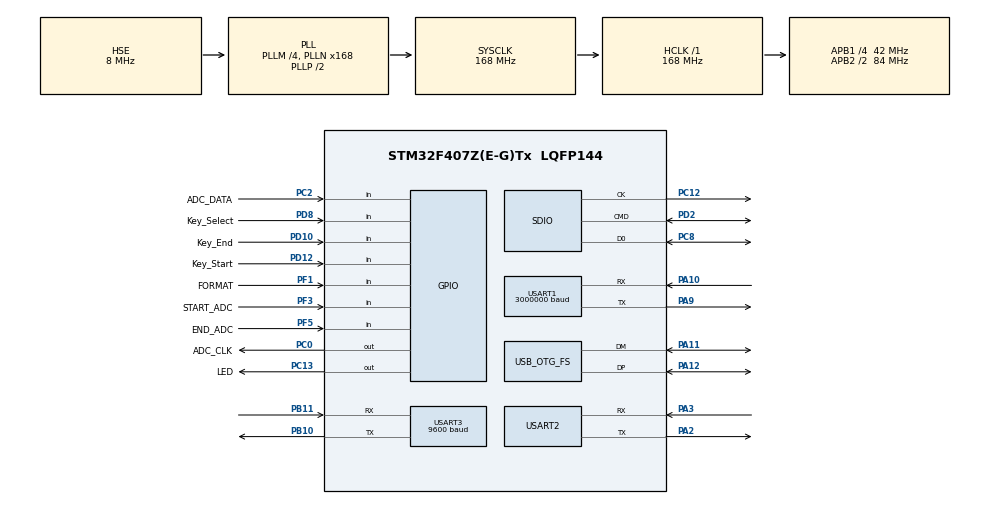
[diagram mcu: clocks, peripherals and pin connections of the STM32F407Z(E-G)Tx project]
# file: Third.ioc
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Dma.Request0=USART1_RX
Dma.Request1=SDIO_RX
Dma.Request2=SDIO_TX
Dma.Request3=USART1_TX
Dma.Request4=USART2_RX
Dma.SDIO_RX.1.Direction=DMA_PERIPH_TO_MEMORY
Dma.SDIO_RX.1.FIFOMode=DMA_FIFOMODE_ENABLE
Dma.SDIO_RX.1.FIFOThreshold=DMA_FIFO_THRESHOLD_FULL
Dma.SDIO_RX.1.Instance=DMA2_Stream3
Dma.SDIO_RX.1.MemBurst=DMA_MBURST_INC4
Dma.SDIO_RX.1.MemDataAlignment=DMA_MDATAALIGN_WORD
Dma.SDIO_RX.1.MemInc=DMA_MINC_ENABLE
Dma.SDIO_RX.1.Mode=DMA_PFCTRL
Dma.SDIO_RX.1.PeriphBurst=DMA_PBURST_INC4
Dma.SDIO_RX.1.PeriphDataAlignment=DMA_PDATAALIGN_WORD
Dma.SDIO_RX.1.PeriphInc=DMA_PINC_DISABLE
Dma.SDIO_RX.1.Priority=DMA_PRIORITY_LOW
Dma.SDIO_TX.2.Direction=DMA_MEMORY_TO_PERIPH
Dma.SDIO_TX.2.FIFOMode=DMA_FIFOMODE_ENABLE
Dma.SDIO_TX.2.FIFOThreshold=DMA_FIFO_THRESHOLD_FULL
Dma.SDIO_TX.2.Instance=DMA2_Stream6
Dma.SDIO_TX.2.MemBurst=DMA_MBURST_INC4
Dma.SDIO_TX.2.MemDataAlignment=DMA_MDATAALIGN_WORD
Dma.SDIO_TX.2.MemInc=DMA_MINC_ENABLE
Dma.SDIO_TX.2.Mode=DMA_PFCTRL
Dma.SDIO_TX.2.PeriphBurst=DMA_PBURST_INC4
Dma.SDIO_TX.2.PeriphDataAlignment=DMA_PDATAALIGN_WORD
Dma.SDIO_TX.2.PeriphInc=DMA_PINC_DISABLE
Dma.SDIO_TX.2.Priority=DMA_PRIORITY_LOW
Dma.USART1_RX.0.Direction=DMA_PERIPH_TO_MEMORY
Dma.USART1_RX.0.FIFOMode=DMA_FIFOMODE_DISABLE
Dma.USART1_RX.0.Instance=DMA2_Stream2
Dma.USART1_RX.0.MemDataAlignment=DMA_MDATAALIGN_BYTE
Dma.USART1_RX.0.MemInc=DMA_MINC_ENABLE
Dma.USART1_RX.0.Mode=DMA_NORMAL
Dma.USART1_RX.0.PeriphDataAlignment=DMA_PDATAALIGN_BYTE
Dma.USART1_RX.0.PeriphInc=DMA_PINC_DISABLE
Dma.USART1_RX.0.Priority=DMA_PRIORITY_LOW
Dma.USART1_TX.3.Direction=DMA_MEMORY_TO_PERIPH
Dma.USART1_TX.3.FIFOMode=DMA_FIFOMODE_DISABLE
Dma.USART1_TX.3.Instance=DMA2_Stream7
Dma.USART1_TX.3.MemDataAlignment=DMA_MDATAALIGN_BYTE
Dma.USART1_TX.3.MemInc=DMA_MINC_ENABLE
Dma.USART1_TX.3.Mode=DMA_NORMAL
Dma.USART1_TX.3.PeriphDataAlignment=DMA_PDATAALIGN_BYTE
Dma.USART1_TX.3.PeriphInc=DMA_PINC_DISABLE
Dma.USART1_TX.3.Priority=DMA_PRIORITY_LOW
Dma.USART2_RX.4.Direction=DMA_PERIPH_TO_MEMORY
Dma.USART2_RX.4.FIFOMode=DMA_FIFOMODE_DISABLE
Dma.USART2_RX.4.Instance=DMA1_Stream5
Dma.USART2_RX.4.MemDataAlignment=DMA_MDATAALIGN_BYTE
Dma.USART2_RX.4.MemInc=DMA_MINC_ENABLE
Dma.USART2_RX.4.Mode=DMA_NORMAL
Dma.USART2_RX.4.PeriphDataAlignment=DMA_PDATAALIGN_BYTE
Dma.USART2_RX.4.PeriphInc=DMA_PINC_DISABLE
Dma.USART2_RX.4.Priority=DMA_PRIORITY_LOW
Mcu.Family=STM32F4
Mcu.Name=STM32F407Z(E-G)Tx
Mcu.Package=LQFP144
NVIC.DMA1_Stream5_IRQn=true\:0\:0\:false\:false\:true\:false\:true\:true
NVIC.DMA2_Stream2_IRQn=true\:0\:0\:false\:false\:true\:false\:true\:true
NVIC.DMA2_Stream3_IRQn=true\:0\:0\:false\:false\:true\:false\:true\:true
NVIC.DMA2_Stream6_IRQn=true\:0\:0\:false\:false\:true\:false\:true\:true
NVIC.DMA2_Stream7_IRQn=true\:0\:0\:false\:false\:true\:false\:true\:true
NVIC.OTG_FS_IRQn=true\:0\:0\:false\:false\:true\:true\:true\:true
NVIC.PriorityGroup=NVIC_PRIORITYGROUP_4
NVIC.SDIO_IRQn=true\:1\:0\:true\:false\:true\:true\:true\:true
NVIC.TIM1_UP_TIM10_IRQn=true\:0\:0\:true\:false\:true\:true\:true\:true
NVIC.USART1_IRQn=true\:1\:0\:true\:false\:true\:true\:true\:true
NVIC.USART2_IRQn=true\:1\:0\:true\:false\:true\:true\:true\:true
PA10.Mode=Asynchronous
PA10.Signal=USART1_RX
PA11.Mode=Device_Only
PA11.Signal=USB_OTG_FS_DM
PA12.Mode=Device_Only
PA12.Signal=USB_OTG_FS_DP
PA2.GPIO_PuPd=GPIO_PULLUP
PA2.Mode=Asynchronous
PA2.Signal=USART2_TX
PA3.GPIO_PuPd=GPIO_PULLUP
PA3.Mode=Asynchronous
PA3.Signal=USART2_RX
PA9.Mode=Asynchronous
PA9.Signal=USART1_TX
PB10.GPIO_ModeDefaultPP=GPIO_MODE_AF_OD
PB10.Mode=Asynchronous
PB10.Signal=USART3_TX
PB11.Mode=Asynchronous
PB11.Signal=USART3_RX
PC0.GPIO_Label=ADC_CLK
PC0.GPIO_PuPd=GPIO_NOPULL
PC0.Signal=GPIO_Output
PC12.Mode=SD_1_bit
PC12.Signal=SDIO_CK
PC13-ANTI_TAMP.GPIO_Label=LED
PC13-ANTI_TAMP.Signal=GPIO_Output
PC14-OSC32_IN.Mode=LSE-External-Oscillator
PC14-OSC32_IN.Signal=RCC_OSC32_IN
PC15-OSC32_OUT.Mode=LSE-External-Oscillator
PC15-OSC32_OUT.Signal=RCC_OSC32_OUT
PC2.GPIO_Label=ADC_DATA
PC2.Signal=GPIO_Input
PC8.Mode=SD_1_bit
PC8.Signal=SDIO_D0
PD10.GPIO_Label=Key_End
PD10.GPIO_PuPd=GPIO_PULLUP
PD10.Signal=GPIO_Input
PD12.GPIO_Label=Key_Start
PD12.GPIO_PuPd=GPIO_PULLUP
PD12.Signal=GPIO_Input
PD2.Mode=SD_1_bit
PD2.Signal=SDIO_CMD
PD8.GPIO_Label=Key_Select
PD8.GPIO_PuPd=GPIO_PULLUP
PD8.Signal=GPIO_Input
PF1.GPIO_Label=FORMAT
PF1.GPIO_PuPd=GPIO_PULLUP
PF1.Signal=GPIO_Input
PF3.GPIO_Label=START_ADC
PF3.GPIO_PuPd=GPIO_PULLUP
PF3.Signal=GPIO_Input
PF5.GPIO_Label=END_ADC
PF5.GPIO_PuPd=GPIO_PULLUP
PF5.Signal=GPIO_Input
PH0-OSC_IN.Mode=HSE-External-Oscillator
PH0-OSC_IN.Signal=RCC_OSC_IN
PH1-OSC_OUT.Mode=HSE-External-Oscillator
PH1-OSC_OUT.Signal=RCC_OSC_OUT
ProjectManager.HeapSize=0x200
ProjectManager.StackSize=0x400
ProjectManager.TargetToolchain=MDK-ARM V5.27
RCC.48MHZClocksFreq_Value=48000000
RCC.AHBFreq_Value=168000000
RCC.APB1CLKDivider=RCC_HCLK_DIV4
RCC.APB1Freq_Value=42000000
RCC.APB1TimFreq_Value=84000000
RCC.APB2CLKDivider=RCC_HCLK_DIV2
RCC.APB2Freq_Value=84000000
RCC.APB2TimFreq_Value=168000000
RCC.CortexFreq_Value=168000000
RCC.HCLKFreq_Value=168000000
RCC.HSE_VALUE=8000000
RCC.HSI_VALUE=16000000
RCC.PLLM=4
RCC.PLLN=168
RCC.PLLQ=7
RCC.RCC_RTC_Clock_Source=RCC_RTCCLKSOURCE_LSE
RCC.RCC_RTC_Clock_SourceVirtual=RCC_RTCCLKSOURCE_LSE
RCC.SYSCLKFreq_VALUE=168000000
RCC.SYSCLKSource=RCC_SYSCLKSOURCE_PLLCLK
RCC.VCOOutputFreq_Value=336000000
RTC.Hours=1
RTC.Minutes=10
RTC.Seconds=6
RTC.SynchPrediv=255
RTC.Year=10
SDIO.ClockDiv=2
TIM1.AutoReloadPreload=TIM_AUTORELOAD_PRELOAD_ENABLE
TIM1.Period=1000
TIM1.Prescaler=84
USART1.BaudRate=3000000
USART1.VirtualMode=VM_ASYNC
USART2.VirtualMode=VM_ASYNC
USART3.BaudRate=9600
USART3.VirtualMode=VM_ASYNC
USB_DEVICE.CLASS_NAME_FS=CDC
USB_DEVICE.VirtualMode-CDC_FS=Cdc
USB_DEVICE.VirtualModeFS=Cdc_FS
USB_OTG_FS.VirtualMode=Device_Only
VP_RTC_VS_RTC_Activate.Mode=RTC_Enabled
VP_RTC_VS_RTC_Calendar.Mode=RTC_Calendar
VP_TIM1_VS_ClockSourceINT.Mode=Internal
VP_USB_DEVICE_VS_USB_DEVICE_CDC_FS.Mode=CDC_FS
board=custom

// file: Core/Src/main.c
/* USER CODE BEGIN Header */
/**
  ******************************************************************************
  * @file           : main.c
  * @brief          : Main program body
  ******************************************************************************
  * @attention
  *
  * Copyright (c) 2025 STMicroelectronics.
  * All rights reserved.
  *
  * This software is licensed under terms that can be found in the LICENSE file
  * in the root directory of this software component.
  * If no LICENSE file comes with this software, it is provided AS-IS.
  *
  ******************************************************************************
  */
/* USER CODE END Header */
#include "main.h"
#include "usb_device.h"

/* USER CODE BEGIN Includes */
#include "string.h"
#include <stdio.h>
#include "SdManager.h"
#include "ProcessData.h"
#include "Public.h"
#include "Config.h"
#include "Computer.h"
#include "MYRTC.h"
#include "SEND.h"
#include "ScaleModelRunner.h"
/* USER CODE END Includes */

RTC_HandleTypeDef hrtc;

SD_HandleTypeDef hsd;
DMA_HandleTypeDef hdma_sdio_rx;
DMA_HandleTypeDef hdma_sdio_tx;

TIM_HandleTypeDef htim1;

UART_HandleTypeDef huart1;
UART_HandleTypeDef huart2;
UART_HandleTypeDef huart3;
DMA_HandleTypeDef hdma_usart1_rx;
DMA_HandleTypeDef hdma_usart1_tx;
DMA_HandleTypeDef hdma_usart2_rx;

void SystemClock_Config(void);
static void MX_GPIO_Init(void);
static void MX_DMA_Init(void);
static void MX_USART1_UART_Init(void);
static void MX_SDIO_SD_Init(void);
static void MX_USART2_UART_Init(void);
static void MX_USART3_UART_Init(void);
static void MX_RTC_Init(void);
static void MX_TIM1_Init(void);

/* USER CODE BEGIN 0 */

uint8_t Data[]="mytest12345678\r\n";

#ifdef SCALE_MODEL_DEBUG_FREQ
// 性能测量（DWT 周期计数器）
static uint8_t g_dwt_ready = 0U;
static uint64_t g_step_cyc_sum = 0ULL;
static uint32_t g_step_cyc_max = 0U;
static uint32_t g_step_cyc_cnt = 0U;
#endif

int fputc(int ch, FILE *f)
{
    // 主要输出到UART1调试串口（始终可用）
    //注意关掉了
    //HAL_UART_Transmit(&huart1, (uint8_t *)&ch, 1, 0xFFFF);

    #ifdef ENABLE_USB
    // 检查USB是否已连接并初始化成
    extern USBD_HandleTypeDef hUsbDeviceFS;
    if (hUsbDeviceFS.dev_state == USBD_STATE_CONFIGURED) {
        // 只有在USB连接并配置成功时才发送到USB
        extern uint8_t USB_Transmit_Char(uint8_t ch);
        USB_Transmit_Char((uint8_t)ch);
    }
    #endif

    return ch;
}

#define RX_BUF_SIZE 1024
uint8_t Uart1_RxBuffer[RX_BUF_SIZE];  // DMA接收缓冲
volatile uint16_t Uart1_rxLength = 0; // 接收数据长度
volatile uint8_t Uart1_rxFlag = 0;    // 接收完成标志

//#define RX_BUF_SIZE 1024
uint8_t Uart2_RxBuffer[RX_BUF_SIZE];  // DMA接收缓冲
volatile uint16_t Uart2_rxLength = 0; // 接收数据长度
volatile uint8_t Uart2_rxFlag = 0;    // 接收完成标志

u16 LedCount=0;

void Echo_Uart()
{
	//HAL_UART_Transmit_DMA(&huart1, Uart1_RxBuffer, Uart1_rxLength);

	//printf("%d\r\n",Uart1_rxLength);

	//Uart1_RxBuffer[Uart1_rxLength]=0;
	///printf("%s\r\n",Uart1_RxBuffer);

	for( int i=0;i<=Uart1_rxLength-1;i++)
		printf("%c",Uart1_RxBuffer[i]);

}

extern void On_USART1_IRQHandler(void) {
    if (__HAL_UART_GET_FLAG(&huart1, UART_FLAG_IDLE)) {
        __HAL_UART_CLEAR_IDLEFLAG(&huart1); // 清除空闲标志
        HAL_UART_DMAStop(&huart1);          // 停止DMA

        Uart1_rxLength = RX_BUF_SIZE - __HAL_DMA_GET_COUNTER(huart1.hdmarx); // 计算接收长度

		///HAL_UART_Transmit_DMA(&huart1, Uart1_RxBuffer, Uart1_rxLength);

		//Echo_Uart();

		//printf("get data\r\n");

		Uart1_rxFlag = 1;                        // 标记接收完成
       // Start_DMA_Receive();               // 重启接收

	  HAL_UART_Receive_DMA(&huart1, Uart1_RxBuffer, RX_BUF_SIZE);
    }
}

/**
  * @brief  USART2中断处理函数
  * @note   处理USART2串口的空闲中断，当检测到串口接收空闲时，计算接收到的数据长度，
  *         调用OnGetCommUartData处理接收到的数据，然后重新启动DMA接收
  * @param  None
  * @retval None
  */
 int nine_count=0;
extern void On_USART2_IRQHandler(void) {
    if (__HAL_UART_GET_FLAG(&huart2, UART_FLAG_IDLE)) {
        __HAL_UART_CLEAR_IDLEFLAG(&huart2); // 清除空闲标志
        HAL_UART_DMAStop(&huart2);          // 停止DMA
        Uart2_rxLength = RX_BUF_SIZE - __HAL_DMA_GET_COUNTER(huart2.hdmarx); // 计算接收长度

		OnGetCommUartData(Uart2_RxBuffer,Uart2_rxLength);
		TIM_GET_TASK_MS(MYNINE);
    nine_count++;
	  HAL_UART_Receive_DMA(&huart2, Uart2_RxBuffer, RX_BUF_SIZE);
    }
}

void CheckUartGetDataFlag(void)
{

if(Uart1_rxFlag==1)
{
	OnGetDebugUartData(Uart1_RxBuffer,Uart1_rxLength);
	Uart1_rxFlag=0;
}

}

int count=0;
extern int TIM1_COUNT;
// extern int decodeIns_count;
/* USER CODE END 0 */

int main(void)
{

  /* MCU Configuration--------------------------------------------------------*/

  /* Reset of all peripherals, Initializes the Flash interface and the Systick. */
  HAL_Init();

  /* Configure the system clock */
  SystemClock_Config();

  /* Initialize all configured peripherals */
  MX_GPIO_Init();
  MX_DMA_Init();
  MX_USART1_UART_Init();
  MX_SDIO_SD_Init();
  MX_USART2_UART_Init();
  MX_USB_DEVICE_Init();
  MX_USART3_UART_Init();
  MX_RTC_Init();
  MX_TIM1_Init();
  /* USER CODE BEGIN 2 */

  HAL_TIM_Base_Start_IT(&htim1);

  // ========== 性能测量：启用 DWT 周期计数器 ==========
  // 用于输出每次 ScaleModelRunner_Step() 的 CPU 周期数（不依赖定时器精度）。
  #ifdef SCALE_MODEL_DEBUG_FREQ
  if (!g_dwt_ready) {
    CoreDebug->DEMCR |= CoreDebug_DEMCR_TRCENA_Msk;
    DWT->CYCCNT = 0U;
    DWT->CTRL |= DWT_CTRL_CYCCNTENA_Msk;
    g_dwt_ready = 1U;
  }
  #endif

  HAL_UART_Receive_DMA(&huart2, Uart2_RxBuffer, RX_BUF_SIZE);
  __HAL_UART_ENABLE_IT(&huart2, UART_IT_IDLE); // 使能空闲中断//

  UartDebugHandle=&huart1;

  UartDebugHandle2=&huart1;

  // ========== 初始化64字节数据包管理系统 ==========
  //InitSectorBuffer();
  printf("Data packet management system initialized\r\n");

  // ========== 初始化砝码选择 ==========

  #ifdef ENABLE_USB
  // 检查USB连接状态
  extern USBD_HandleTypeDef hUsbDeviceFS;
  if (hUsbDeviceFS.dev_state == USBD_STATE_CONFIGURED) {
      printf("USB connected and configured\r\n");
  } else {
      printf("USB not connected, using UART1 only\r\n");
  }
  #endif

  //HAL_Delay(100);

  //Display_SendBlackScreen();

  HAL_Delay(1000);

  Display_SendToDigitTube(0);

  InsFifo.InsFifo_Pointer=0;

  AdcUserInsFifo.InsFifo_Pointer=0;

  WeightFilterBufferPointer=0;

  FilterSkipCounter=0;

  printf("Scal system start\r\n");

  /* USER CODE END 2 */

  /* Infinite loop */
  /* USER CODE BEGIN WHILE */
  // while(1)
  // {
  //     HAL_GPIO_WritePin(LED_GPIO_Port,LED_Pin,GPIO_PIN_SET);
  //     HAL_Delay(1000);
  //     HAL_GPIO_WritePin(LED_GPIO_Port,LED_Pin,GPIO_PIN_RESET);
  //     HAL_Delay(1000);
  // }

  while (1)
  {
    // ========== 系统时基控制 ==========
   // Delay_us(500);                    // 1ms延时，控制主循环频率1000Hz

    // ========== 数码管闪烁控制 ==========
  //  extern void Display_UpdateBlinkStatus(void);
  //  Display_UpdateBlinkStatus();     // 更新数码管闪烁状态，ADC运行时2Hz闪烁

    // ========== 按钮测试程序 ==========
    CheckButtonStatus();             // 测试三个按钮状并处理相应功能

    // ========== USB虚拟串口数据处理 ==========
    CheckUartGetDataFlag();          // 检查并处理调试USB串口(UART1)的命令数

    // ========== RTC测试函数 =============

    // ==========四元素测试函数===========
      //TestQuaternionConversion();

    #ifdef ENABLE_USB
    // 只有在USB连接并配置成功时才处理USB数据
    extern USBD_HandleTypeDef hUsbDeviceFS;
    if (hUsbDeviceFS.dev_state == USBD_STATE_CONFIGURED) {
        // 检查并处理USB虚拟串口的命令数
        extern void CheckUsbGetDataFlag(void);
        CheckUsbGetDataFlag();           // 检查并处理USB虚拟串口的命令数

        // 处理USB发送缓冲区
        extern void USB_Process_TxBuffer(void);
        USB_Process_TxBuffer();          // 处理USB发送缓冲区，确保数据完整发送
    }
    #endif
                                    // - 处理来自调试串口的控制命令
                                    // - UART2的IMU数据在中断中直接处理
      // 重要：不要在这里直接 TIM1_COUNT=0。
      // 因为在执行一次推理/显示期间（例如 15ms），TIM1 中断仍会累加 TIM1_COUNT。
      // 如果粗暴清零，会等于“推理15ms + 再等20ms”，频率就会掉到 ~28Hz。
      // 正确做法：每处理一次 20ms tick，就减去 20，保留余量（必要时可补跑追赶）。
      while (TIM1_COUNT >= 20)
      {
        TIM1_COUNT -= 20;
        TIM_COMPUTER(&tim_data);

        // ========== 深度学习模型推理（建议固定 50Hz 调用） ==========
        // 重要：原先按ADC“新数据就绪”节拍调用（HX711常见为10Hz/80Hz），会导致
        // `SCALE_MODEL_WINDOW_SIZE=100` 的时间窗口变成 10s/1.25s，从而出现“要5秒以上才稳定”。
        // 这里改为跟随 TIM1 的 20ms 节拍（约50Hz）调用：即使ADC 10Hz，也会重复使用最近一次AdcValue，
        // 等价于对“保持值”做 50Hz 采样，更贴近软件侧 `--resample_hz 50` 的训练/评测假设。
        #ifdef ENABLE_SCALE_MODEL
        extern double FOUR_element[4];
        float yFused = 0.0f;
        float yBaseline = 0.0f;
        float yModel = 0.0f;

        // 周期测量：仅统计 ScaleModelRunner_Step()（不包含后续业务滤波/显示）
        #ifdef SCALE_MODEL_DEBUG_FREQ
        uint32_t t0 = (g_dwt_ready ? DWT->CYCCNT : 0U);
        #endif
        (void)ScaleModelRunner_Step(AdcValue, Acceleration, AngularVelocity, FOUR_element,
                                    &yFused, &yBaseline, &yModel);
        #ifdef SCALE_MODEL_DEBUG_FREQ
        if (g_dwt_ready) {
          uint32_t cyc = (uint32_t)(DWT->CYCCNT - t0);
          g_step_cyc_sum += (uint64_t)cyc;
          g_step_cyc_cnt += 1U;
          if (cyc > g_step_cyc_max) g_step_cyc_max = cyc;
        }
        #endif

        // 基于模型输出更新业务侧重量（建议也按 50Hz 刷新，避免再被ADC 10Hz/80Hz节拍拖慢）
        SetWeightToAdcValue();
        FilterWeightValue();

        // 调试：打印真实推理频率（约每秒一次）
        #ifdef SCALE_MODEL_DEBUG_FREQ
        static uint32_t infer_calls = 0U;
        static uint32_t last_tick = 0U;
        infer_calls++;
        uint32_t now_tick = HAL_GetTick();
        if (last_tick == 0U) {
          last_tick = now_tick;
        }
        if ((now_tick - last_tick) >= 1000U) {
          float hz = (infer_calls * 1000.0f) / (float)(now_tick - last_tick);
          printf("INFER_HZ,%.2f\r\n", hz);
          // 方便对齐：SHOW 与数码管一致（已做零点/动态零点）；YFUSED 是模型融合原始输出
          printf("SHOW,%.3f\r\n", (float)my_send.now_real);
          printf("YFUSED,%.3f\r\n", yFused);

          // 周期/耗时统计（ScaleModelRunner_Step 这一段）
          if (g_step_cyc_cnt > 0U) {
            uint32_t avg = (uint32_t)(g_step_cyc_sum / (uint64_t)g_step_cyc_cnt);
            printf("STEP_CYC_AVG,%lu\r\n", (unsigned long)avg);
            printf("STEP_CYC_MAX,%lu\r\n", (unsigned long)g_step_cyc_max);

            uint32_t cyc_per_us = SystemCoreClock / 1000000U;
            if (cyc_per_us > 0U) {
              uint32_t avg_us = (avg + (cyc_per_us / 2U)) / cyc_per_us;
              uint32_t max_us = (g_step_cyc_max + (cyc_per_us / 2U)) / cyc_per_us;
              printf("STEP_US_AVG,%lu\r\n", (unsigned long)avg_us);
              printf("STEP_US_MAX,%lu\r\n", (unsigned long)max_us);
            }
          }
          g_step_cyc_sum = 0ULL;
          g_step_cyc_cnt = 0U;
          g_step_cyc_max = 0U;
          infer_calls = 0U;
          last_tick = now_tick;
        }
        #endif
        #endif

        SEND_TASK();

        // 注意：printf("%f") 很耗时，且会直接降低 50Hz 节拍执行频率。
        // 如需观察业务侧输出，请看数码管显示或启用 SCALE_MODEL_DEBUG_FREQ（会打印INFER_HZ）。
      }

      // if(nine_count%10==0)
      // {
      //     printf("nine count =%d",nine_count);

      // }

      // if(decodeIns_count%20==0)
      // {
      //     printf("decodeIns_count = %d",decodeIns_count);
      // }
    // ========== 称重传感器数据采集 ==========
    // 只有在ADC启用时才进行数据采集
    if(ReadAdc()!=-1)//这里延时7.4ms
    {
      __disable_irq();

      CopyInsFifoToAdcUserInsFifo();

      // 注意：启用模型时，SetWeightToAdcValue/FilterWeightValue 已在 TIM1 的 50Hz 节拍中执行，
      // 这里不要重复执行，避免业务侧再被ADC 10Hz/80Hz节拍“拖慢”。
      #ifndef ENABLE_SCALE_MODEL
      SetWeightToAdcValue();//读取到压力值
      FilterWeightValue();//进行滤波
      #endif

      //printf("fsdfdsf\r\n");

      __enable_irq();

      // 注意：模型推理已在上方 TIM1 50Hz 节拍内调用，这里不要重复调用，避免时间窗口被“加速”。

		// 	count++;
	  // if(count %10==0)
	  // {      printf("count %d",count);
	  // }
     // printf("copy data to adc user ins fifo  %d\r\n",AdcUserInsFifo.InsFifo_Pointer);

      // 计算AdcUserInsFifo的平均值到InsAvgData
      //ComputeInsAvgData();

      //GetWeightValue();

      // simgle_dispose();

      //  printf("ADC=%d,time=%d\r\n",AdcValue,tim_data.tim_common);

      // for(int i=0;i<9;i++ )
      //   printf("%f ",InsAvgData[i]);

    //   // printf("\r\n");

    //   //printf("AdcValue=%d\r\n",AdcValue);

    //   //GetWeightValue();

    // }

    #ifdef Adc_Hx711
    //int adcResult = ReadAdc();

    #endif

  //   //HAL_UART_Transmit_DMA(&huart1, Data,8+8);
    /* USER CODE END WHILE */

    /* USER CODE BEGIN 3 */
   }}
  /* USER CODE END 3 */
}

void SystemClock_Config(void)
{
  RCC_OscInitTypeDef RCC_OscInitStruct = {0};
  RCC_ClkInitTypeDef RCC_ClkInitStruct = {0};

  /** Configure the main internal regulator output voltage
  */
  __HAL_RCC_PWR_CLK_ENABLE();
  __HAL_PWR_VOLTAGESCALING_CONFIG(PWR_REGULATOR_VOLTAGE_SCALE1);

  /** Initializes the RCC Oscillators according to the specified parameters
  * in the RCC_OscInitTypeDef structure.
  */
  RCC_OscInitStruct.OscillatorType = RCC_OSCILLATORTYPE_HSE|RCC_OSCILLATORTYPE_LSE;
  RCC_OscInitStruct.HSEState = RCC_HSE_ON;
  RCC_OscInitStruct.LSEState = RCC_LSE_ON;
  RCC_OscInitStruct.PLL.PLLState = RCC_PLL_ON;
  RCC_OscInitStruct.PLL.PLLSource = RCC_PLLSOURCE_HSE;
  RCC_OscInitStruct.PLL.PLLM = 4;
  RCC_OscInitStruct.PLL.PLLN = 168;
  RCC_OscInitStruct.PLL.PLLP = RCC_PLLP_DIV2;
  RCC_OscInitStruct.PLL.PLLQ = 7;
  if (HAL_RCC_OscConfig(&RCC_OscInitStruct) != HAL_OK)
  {
    Error_Handler();
  }

  /** Initializes the CPU, AHB and APB buses clocks
  */
  RCC_ClkInitStruct.ClockType = RCC_CLOCKTYPE_HCLK|RCC_CLOCKTYPE_SYSCLK
                              |RCC_CLOCKTYPE_PCLK1|RCC_CLOCKTYPE_PCLK2;
  RCC_ClkInitStruct.SYSCLKSource = RCC_SYSCLKSOURCE_PLLCLK;
  RCC_ClkInitStruct.AHBCLKDivider = RCC_SYSCLK_DIV1;
  RCC_ClkInitStruct.APB1CLKDivider = RCC_HCLK_DIV4;
  RCC_ClkInitStruct.APB2CLKDivider = RCC_HCLK_DIV2;

  if (HAL_RCC_ClockConfig(&RCC_ClkInitStruct, FLASH_LATENCY_5) != HAL_OK)
  {
    Error_Handler();
  }
}

static void MX_RTC_Init(void)
{

  RTC_TimeTypeDef sTime = {0};
  RTC_DateTypeDef sDate = {0};

  /** Initialize RTC Only
  */
  hrtc.Instance = RTC;
  hrtc.Init.HourFormat = RTC_HOURFORMAT_24;
  hrtc.Init.AsynchPrediv = 127;
  hrtc.Init.SynchPrediv = 255;
  hrtc.Init.OutPut = RTC_OUTPUT_DISABLE;
  hrtc.Init.OutPutPolarity = RTC_OUTPUT_POLARITY_HIGH;
  hrtc.Init.OutPutType = RTC_OUTPUT_TYPE_OPENDRAIN;
  if (HAL_RTC_Init(&hrtc) != HAL_OK)
  {
    Error_Handler();
  }

  /** Initialize RTC and set the Time and Date
  */
  sTime.Hours = 0x1;
  sTime.Minutes = 0x10;
  sTime.Seconds = 0x6;
  sTime.DayLightSaving = RTC_DAYLIGHTSAVING_NONE;
  sTime.StoreOperation = RTC_STOREOPERATION_RESET;
  if (HAL_RTC_SetTime(&hrtc, &sTime, RTC_FORMAT_BCD) != HAL_OK)
  {
    Error_Handler();
  }
  sDate.WeekDay = RTC_WEEKDAY_MONDAY;
  sDate.Month = RTC_MONTH_JANUARY;
  sDate.Date = 0x1;
  sDate.Year = 0x10;

  if (HAL_RTC_SetDate(&hrtc, &sDate, RTC_FORMAT_BCD) != HAL_OK)
  {
    Error_Handler();
  }

}

static void MX_SDIO_SD_Init(void)
{

  hsd.Instance = SDIO;
  hsd.Init.ClockEdge = SDIO_CLOCK_EDGE_RISING;
  hsd.Init.ClockBypass = SDIO_CLOCK_BYPASS_DISABLE;
  hsd.Init.ClockPowerSave = SDIO_CLOCK_POWER_SAVE_DISABLE;
  hsd.Init.BusWide = SDIO_BUS_WIDE_1B;
  hsd.Init.HardwareFlowControl = SDIO_HARDWARE_FLOW_CONTROL_DISABLE;
  hsd.Init.ClockDiv = 2;
  if (HAL_SD_Init(&hsd) != HAL_OK)
  {
    Error_Handler();
  }

}

static void MX_TIM1_Init(void)
{

  TIM_ClockConfigTypeDef sClockSourceConfig = {0};
  TIM_MasterConfigTypeDef sMasterConfig = {0};

  htim1.Instance = TIM1;
  htim1.Init.Prescaler = 168;
  htim1.Init.CounterMode = TIM_COUNTERMODE_UP;
  htim1.Init.Period = 1000;
  htim1.Init.ClockDivision = TIM_CLOCKDIVISION_DIV1;
  htim1.Init.RepetitionCounter = 0;
  htim1.Init.AutoReloadPreload = TIM_AUTORELOAD_PRELOAD_ENABLE;
  if (HAL_TIM_Base_Init(&htim1) != HAL_OK)
  {
    Error_Handler();
  }
  sClockSourceConfig.ClockSource = TIM_CLOCKSOURCE_INTERNAL;
  if (HAL_TIM_ConfigClockSource(&htim1, &sClockSourceConfig) != HAL_OK)
  {
    Error_Handler();
  }
  sMasterConfig.MasterOutputTrigger = TIM_TRGO_RESET;
  sMasterConfig.MasterSlaveMode = TIM_MASTERSLAVEMODE_DISABLE;
  if (HAL_TIMEx_MasterConfigSynchronization(&htim1, &sMasterConfig) != HAL_OK)
  {
    Error_Handler();
  }

}

static void MX_USART1_UART_Init(void)
{

  huart1.Instance = USART1;
  huart1.Init.BaudRate = 3000000;
  huart1.Init.WordLength = UART_WORDLENGTH_8B;
  huart1.Init.StopBits = UART_STOPBITS_1;
  huart1.Init.Parity = UART_PARITY_NONE;
  huart1.Init.Mode = UART_MODE_TX_RX;
  huart1.Init.HwFlowCtl = UART_HWCONTROL_NONE;
  huart1.Init.OverSampling = UART_OVERSAMPLING_16;
  if (HAL_UART_Init(&huart1) != HAL_OK)
  {
    Error_Handler();
  }

}

static void MX_USART2_UART_Init(void)
{

  huart2.Instance = USART2;
  huart2.Init.BaudRate = 115200;
  huart2.Init.WordLength = UART_WORDLENGTH_8B;
  huart2.Init.StopBits = UART_STOPBITS_1;
  huart2.Init.Parity = UART_PARITY_NONE;
  huart2.Init.Mode = UART_MODE_TX_RX;
  huart2.Init.HwFlowCtl = UART_HWCONTROL_NONE;
  huart2.Init.OverSampling = UART_OVERSAMPLING_16;
  if (HAL_UART_Init(&huart2) != HAL_OK)
  {
    Error_Handler();
  }

}

static void MX_USART3_UART_Init(void)
{

  huart3.Instance = USART3;
  huart3.Init.BaudRate = 9600;
  huart3.Init.WordLength = UART_WORDLENGTH_8B;
  huart3.Init.StopBits = UART_STOPBITS_1;
  huart3.Init.Parity = UART_PARITY_NONE;
  huart3.Init.Mode = UART_MODE_TX_RX;
  huart3.Init.HwFlowCtl = UART_HWCONTROL_NONE;
  huart3.Init.OverSampling = UART_OVERSAMPLING_16;
  if (HAL_UART_Init(&huart3) != HAL_OK)
  {
    Error_Handler();
  }

}

static void MX_DMA_Init(void)
{

  /* DMA controller clock enable */
  __HAL_RCC_DMA2_CLK_ENABLE();
  __HAL_RCC_DMA1_CLK_ENABLE();

  /* DMA interrupt init */
  /* DMA1_Stream5_IRQn interrupt configuration */
  HAL_NVIC_SetPriority(DMA1_Stream5_IRQn, 0, 0);
  HAL_NVIC_EnableIRQ(DMA1_Stream5_IRQn);
  /* DMA2_Stream2_IRQn interrupt configuration */
  HAL_NVIC_SetPriority(DMA2_Stream2_IRQn, 0, 0);
  HAL_NVIC_EnableIRQ(DMA2_Stream2_IRQn);
  /* DMA2_Stream3_IRQn interrupt configuration */
  HAL_NVIC_SetPriority(DMA2_Stream3_IRQn, 0, 0);
  HAL_NVIC_EnableIRQ(DMA2_Stream3_IRQn);
  /* DMA2_Stream6_IRQn interrupt configuration */
  HAL_NVIC_SetPriority(DMA2_Stream6_IRQn, 0, 0);
  HAL_NVIC_EnableIRQ(DMA2_Stream6_IRQn);
  /* DMA2_Stream7_IRQn interrupt configuration */
  HAL_NVIC_SetPriority(DMA2_Stream7_IRQn, 0, 0);
  HAL_NVIC_EnableIRQ(DMA2_Stream7_IRQn);

}

static void MX_GPIO_Init(void)
{
  GPIO_InitTypeDef GPIO_InitStruct = {0};

  /* GPIO Ports Clock Enable */
  __HAL_RCC_GPIOC_CLK_ENABLE();
  __HAL_RCC_GPIOF_CLK_ENABLE();
  __HAL_RCC_GPIOH_CLK_ENABLE();
  __HAL_RCC_GPIOA_CLK_ENABLE();
  __HAL_RCC_GPIOB_CLK_ENABLE();
  __HAL_RCC_GPIOD_CLK_ENABLE();

  /*Configure GPIO pin Output Level */
  HAL_GPIO_WritePin(GPIOC, LED_Pin|ADC_CLK_Pin, GPIO_PIN_RESET);

  /*Configure GPIO pins : LED_Pin ADC_CLK_Pin */
  GPIO_InitStruct.Pin = LED_Pin|ADC_CLK_Pin;
  GPIO_InitStruct.Mode = GPIO_MODE_OUTPUT_PP;
  GPIO_InitStruct.Pull = GPIO_NOPULL;
  GPIO_InitStruct.Speed = GPIO_SPEED_FREQ_LOW;
  HAL_GPIO_Init(GPIOC, &GPIO_InitStruct);

  /*Configure GPIO pins : FORMAT_Pin START_ADC_Pin END_ADC_Pin */
  GPIO_InitStruct.Pin = FORMAT_Pin|START_ADC_Pin|END_ADC_Pin;
  GPIO_InitStruct.Mode = GPIO_MODE_INPUT;
  GPIO_InitStruct.Pull = GPIO_PULLUP;
  HAL_GPIO_Init(GPIOF, &GPIO_InitStruct);

  /*Configure GPIO pin : ADC_DATA_Pin */
  GPIO_InitStruct.Pin = ADC_DATA_Pin;
  GPIO_InitStruct.Mode = GPIO_MODE_INPUT;
  GPIO_InitStruct.Pull = GPIO_NOPULL;
  HAL_GPIO_Init(ADC_DATA_GPIO_Port, &GPIO_InitStruct);

  /*Configure GPIO pins : Key_Select_Pin Key_End_Pin Key_Start_Pin */
  GPIO_InitStruct.Pin = Key_Select_Pin|Key_End_Pin|Key_Start_Pin;
  GPIO_InitStruct.Mode = GPIO_MODE_INPUT;
  GPIO_InitStruct.Pull = GPIO_PULLUP;
  HAL_GPIO_Init(GPIOD, &GPIO_InitStruct);

}

void Error_Handler(void)
{
  __disable_irq();
  while (1)
  {
  }
}
